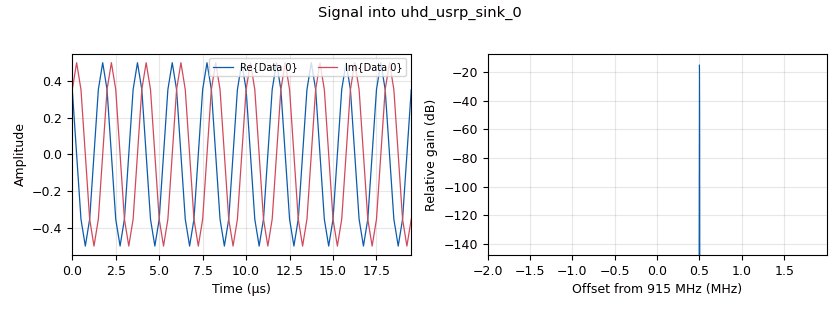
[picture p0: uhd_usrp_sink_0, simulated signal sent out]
options:
  parameters:
    author: MR
    generate_options: no_gui
    id: Tx_Tone
    output_language: python
    run_options: run
    title: Transmit tone
  states: {}

blocks:
- name: samp_rate
  id: variable
  parameters:
    value: 4e6
  states: {}
- name: analog_sig_source_x_0
  id: analog_sig_source_x
  parameters:
    amp: sig_amp
    freq: sig_freq
    offset: '0'
    phase: '0'
    samp_rate: samp_rate
    type: complex
    waveform: analog.GR_COS_WAVE
  states: {}
- name: fc
  id: parameter
  parameters:
    label: Center Frequency
    short_id: c
    type: eng_float
    value: 915e6
  states: {}
- name: sig_amp
  id: parameter
  parameters:
    label: Signal Amplitude
    short_id: a
    type: eng_float
    value: '0.5'
  states: {}
- name: sig_freq
  id: parameter
  parameters:
    label: Signal Frequency (Relative to fc)
    short_id: f
    type: eng_float
    value: 0.5e6
  states: {}
- name: tx_gain
  id: parameter
  parameters:
    label: Transmitter Gain
    short_id: g
    type: eng_float
    value: '40'
  states: {}
- name: uhd_usrp_sink_0
  id: uhd_usrp_sink
  parameters:
    ant0: TX/RX
    center_freq0: fc
    dev_args: '""'
    gain0: tx_gain
    len_tag_name: ''
    norm_gain0: 'False'
    samp_rate: samp_rate
    sync: none
    type: fc32
  states: {}

connections:
- [analog_sig_source_x_0, '0', uhd_usrp_sink_0, '0']

metadata:
  file_format: 1
